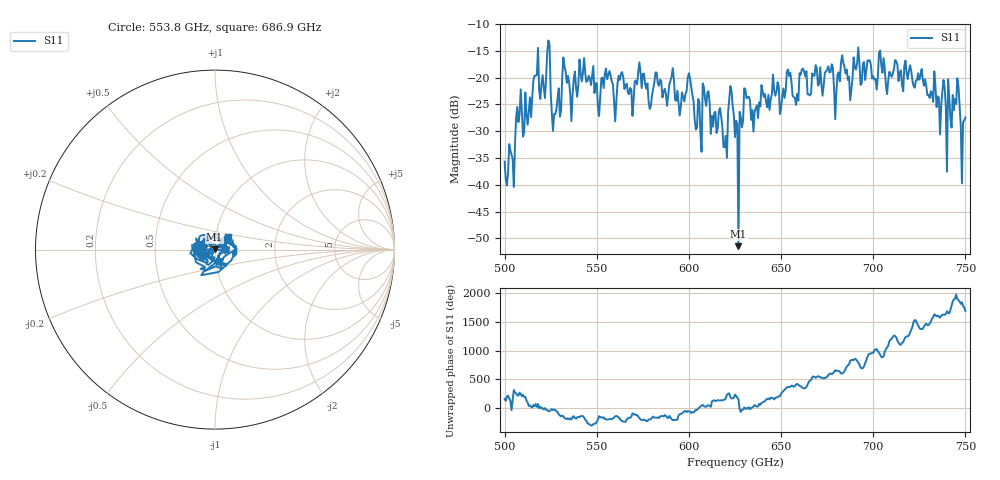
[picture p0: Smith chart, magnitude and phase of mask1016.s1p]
!Created with skrf (http://scikit-rf.org).
# GHz S MA R 50.0
!freq magS11 angS11
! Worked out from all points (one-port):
!   401 points, 500 GHz to 750 GHz, reference 50 ohm
!   lowest |S11| = -51.5 dB at 626.9 GHz (marker M1), VSWR 1.01, Z = 49.8 + j0.11 ohm
!   |S11| at or under -10 dB: start of sweep to end of sweep
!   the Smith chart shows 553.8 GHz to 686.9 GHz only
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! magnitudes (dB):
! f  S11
! 500 GHz  -35.7
! 516.9 GHz  -19.6
! 520.6 GHz  -19.5
! 523.8 GHz  -13.1
! 526.9 GHz  -26.8
! 531.2 GHz  -20.0
! 560 GHz  -28.2
! 562.5 GHz  -20.4
! 579.4 GHz  -25.2
! 590.6 GHz  -19.8
! 593.8 GHz  -22.4
! 600.6 GHz  -20.1
! 605.6 GHz  -24.5
! 608.8 GHz  -24.0
! 619.4 GHz  -33.0
! 622.5 GHz  -21.6
! 625 GHz  -31.1
! 626.9 GHz  -51.5
! 631.2 GHz  -23.8
! 635 GHz  -30.1
! 656.2 GHz  -23.4
! 676.9 GHz  -19.0
! 680 GHz  -22.7
! 683.8 GHz  -17.2
! 687.5 GHz  -24.2
! 690.6 GHz  -18.5
! 718.8 GHz  -20.3
! 750 GHz  -27.5
